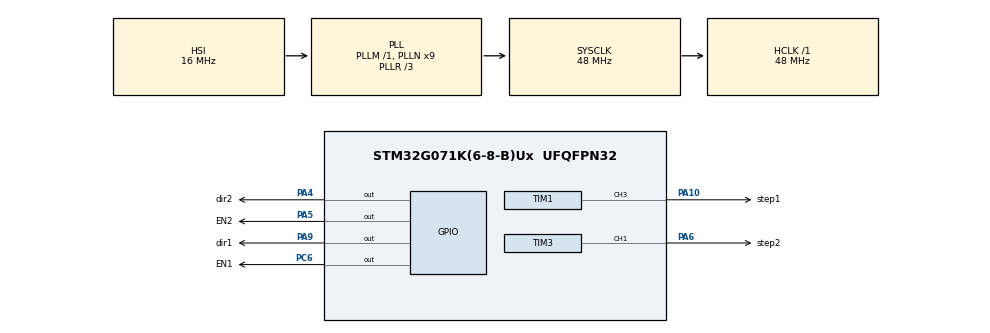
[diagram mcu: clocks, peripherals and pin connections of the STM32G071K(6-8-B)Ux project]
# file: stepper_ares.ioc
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Mcu.Family=STM32G0
Mcu.Name=STM32G071K(6-8-B)Ux
Mcu.Package=UFQFPN32
PA10.GPIO_Label=step1
PA10.Signal=S_TIM1_CH3
PA4.GPIO_Label=dir2
PA4.Signal=GPIO_Output
PA5.GPIO_Label=EN2
PA5.Signal=GPIO_Output
PA6.GPIO_Label=step2
PA6.Signal=S_TIM3_CH1
PA9.GPIO_Label=dir1
PA9.Signal=GPIO_Output
PC6.GPIO_Label=EN1
PC6.Signal=GPIO_Output
ProjectManager.HeapSize=0x200
ProjectManager.StackSize=0x400
ProjectManager.TargetToolchain=STM32CubeIDE
RCC.ADCFreq_Value=48000000
RCC.AHBFreq_Value=48000000
RCC.CortexFreq_Value=48000000
RCC.EXTERNAL_CLOCK_VALUE=48000
RCC.HCLKFreq_Value=48000000
RCC.HSE_VALUE=8000000
RCC.HSI_VALUE=16000000
RCC.LSE_VALUE=32768
RCC.PLLN=9
RCC.PLLQ=RCC_PLLQ_DIV6
RCC.PLLR=RCC_PLLR_DIV3
RCC.SYSCLKFreq_VALUE=48000000
RCC.SYSCLKSource=RCC_SYSCLKSOURCE_PLLCLK
RCC.VCOOutputFreq_Value=144000000
SH.S_TIM1_CH3.0=TIM1_CH3,PWM Generation3 CH3
SH.S_TIM3_CH1.0=TIM3_CH1,PWM Generation1 CH1
TIM1.Channel-PWM\ Generation3\ CH3=TIM_CHANNEL_3
TIM1.Period=8-1
TIM1.Prescaler=4-1
TIM3.AutoReloadPreload=TIM_AUTORELOAD_PRELOAD_ENABLE
TIM3.Channel-PWM\ Generation1\ CH1=TIM_CHANNEL_1
TIM3.Period=1000-1
TIM3.Prescaler=90-1
VP_TIM3_VS_ClockSourceINT.Mode=Internal
board=custom

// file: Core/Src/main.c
/* USER CODE BEGIN Header */
/**
  ******************************************************************************
  * @file           : main.c
  * @brief          : Main program body
  ******************************************************************************
  * @attention
  *
  * Copyright (c) 2025 STMicroelectronics.
  * All rights reserved.
  *
  * This software is licensed under terms that can be found in the LICENSE file
  * in the root directory of this software component.
  * If no LICENSE file comes with this software, it is provided AS-IS.
  *
  ******************************************************************************
  */
/* USER CODE END Header */
#include "main.h"

TIM_HandleTypeDef htim1;
TIM_HandleTypeDef htim3;

void SystemClock_Config(void);
static void MX_GPIO_Init(void);
static void MX_TIM1_Init(void);
static void MX_TIM3_Init(void);

int main(void)
{

  /* MCU Configuration--------------------------------------------------------*/

  /* Reset of all peripherals, Initializes the Flash interface and the Systick. */
  HAL_Init();

  /* Configure the system clock */
  SystemClock_Config();

  /* Initialize all configured peripherals */
  MX_GPIO_Init();
  MX_TIM1_Init();
  MX_TIM3_Init();

  /* Infinite loop */
  /* USER CODE BEGIN WHILE */
  HAL_GPIO_WritePin(GPIOA, GPIO_PIN_5, GPIO_PIN_RESET);//enable
  HAL_GPIO_WritePin(GPIOA, GPIO_PIN_4, GPIO_PIN_RESET);
  HAL_TIM_PWM_Start(&htim3, TIM_CHANNEL_1);
  __HAL_TIM_SET_COMPARE(&htim3, TIM_CHANNEL_1, 500);
  HAL_Delay(1000);
  HAL_GPIO_WritePin(GPIOA, GPIO_PIN_4, GPIO_PIN_SET);
  HAL_Delay(1000);

//  HAL_GPIO_WritePin(GPIOA, GPIO_PIN_9, GPIO_PIN_RESET);
  //  HAL_GPIO_WritePin(GPIOC, GPIO_PIN_6, GPIO_PIN_RESET);
  //  HAL_TIM_PWM_Start(&htim1, TIM_CHANNEL_3);
  //  __HAL_TIM_SET_COMPARE(&htim1, TIM_CHANNEL_3, 1);
  while (1)
  {
	  // Sens horaire
	  HAL_GPIO_WritePin(GPIOA, GPIO_PIN_4, GPIO_PIN_RESET);
	  HAL_TIM_PWM_Start(&htim3, TIM_CHANNEL_1);
	  __HAL_TIM_SET_COMPARE(&htim3, TIM_CHANNEL_1, 500); // Ajuster la vitesse, 500
	  HAL_Delay(20000); // Attendre 2 secondes, precaller 360

	  // Sens antihoraire
	  HAL_GPIO_WritePin(GPIOA, GPIO_PIN_4, GPIO_PIN_SET);
	  HAL_TIM_PWM_Start(&htim3, TIM_CHANNEL_1);
	  __HAL_TIM_SET_COMPARE(&htim3, TIM_CHANNEL_1, 500);
	  HAL_Delay(20000);
    /* USER CODE END WHILE */

  }
}

void SystemClock_Config(void)
{
  RCC_OscInitTypeDef RCC_OscInitStruct = {0};
  RCC_ClkInitTypeDef RCC_ClkInitStruct = {0};

  /** Configure the main internal regulator output voltage
  */
  HAL_PWREx_ControlVoltageScaling(PWR_REGULATOR_VOLTAGE_SCALE1);

  /** Initializes the RCC Oscillators according to the specified parameters
  * in the RCC_OscInitTypeDef structure.
  */
  RCC_OscInitStruct.OscillatorType = RCC_OSCILLATORTYPE_HSI;
  RCC_OscInitStruct.HSIState = RCC_HSI_ON;
  RCC_OscInitStruct.HSIDiv = RCC_HSI_DIV1;
  RCC_OscInitStruct.HSICalibrationValue = RCC_HSICALIBRATION_DEFAULT;
  RCC_OscInitStruct.PLL.PLLState = RCC_PLL_ON;
  RCC_OscInitStruct.PLL.PLLSource = RCC_PLLSOURCE_HSI;
  RCC_OscInitStruct.PLL.PLLM = RCC_PLLM_DIV1;
  RCC_OscInitStruct.PLL.PLLN = 9;
  RCC_OscInitStruct.PLL.PLLP = RCC_PLLP_DIV2;
  RCC_OscInitStruct.PLL.PLLQ = RCC_PLLQ_DIV6;
  RCC_OscInitStruct.PLL.PLLR = RCC_PLLR_DIV3;
  if (HAL_RCC_OscConfig(&RCC_OscInitStruct) != HAL_OK)
  {
    Error_Handler();
  }

  /** Initializes the CPU, AHB and APB buses clocks
  */
  RCC_ClkInitStruct.ClockType = RCC_CLOCKTYPE_HCLK|RCC_CLOCKTYPE_SYSCLK
                              |RCC_CLOCKTYPE_PCLK1;
  RCC_ClkInitStruct.SYSCLKSource = RCC_SYSCLKSOURCE_PLLCLK;
  RCC_ClkInitStruct.AHBCLKDivider = RCC_SYSCLK_DIV1;
  RCC_ClkInitStruct.APB1CLKDivider = RCC_HCLK_DIV1;

  if (HAL_RCC_ClockConfig(&RCC_ClkInitStruct, FLASH_LATENCY_1) != HAL_OK)
  {
    Error_Handler();
  }
}

static void MX_TIM1_Init(void)
{

  TIM_MasterConfigTypeDef sMasterConfig = {0};
  TIM_OC_InitTypeDef sConfigOC = {0};
  TIM_BreakDeadTimeConfigTypeDef sBreakDeadTimeConfig = {0};

  htim1.Instance = TIM1;
  htim1.Init.Prescaler = 4-1;
  htim1.Init.CounterMode = TIM_COUNTERMODE_UP;
  htim1.Init.Period = 8-1;
  htim1.Init.ClockDivision = TIM_CLOCKDIVISION_DIV1;
  htim1.Init.RepetitionCounter = 0;
  htim1.Init.AutoReloadPreload = TIM_AUTORELOAD_PRELOAD_DISABLE;
  if (HAL_TIM_PWM_Init(&htim1) != HAL_OK)
  {
    Error_Handler();
  }
  sMasterConfig.MasterOutputTrigger = TIM_TRGO_RESET;
  sMasterConfig.MasterOutputTrigger2 = TIM_TRGO2_RESET;
  sMasterConfig.MasterSlaveMode = TIM_MASTERSLAVEMODE_DISABLE;
  if (HAL_TIMEx_MasterConfigSynchronization(&htim1, &sMasterConfig) != HAL_OK)
  {
    Error_Handler();
  }
  sConfigOC.OCMode = TIM_OCMODE_PWM1;
  sConfigOC.Pulse = 0;
  sConfigOC.OCPolarity = TIM_OCPOLARITY_HIGH;
  sConfigOC.OCNPolarity = TIM_OCNPOLARITY_HIGH;
  sConfigOC.OCFastMode = TIM_OCFAST_DISABLE;
  sConfigOC.OCIdleState = TIM_OCIDLESTATE_RESET;
  sConfigOC.OCNIdleState = TIM_OCNIDLESTATE_RESET;
  if (HAL_TIM_PWM_ConfigChannel(&htim1, &sConfigOC, TIM_CHANNEL_3) != HAL_OK)
  {
    Error_Handler();
  }
  sBreakDeadTimeConfig.OffStateRunMode = TIM_OSSR_DISABLE;
  sBreakDeadTimeConfig.OffStateIDLEMode = TIM_OSSI_DISABLE;
  sBreakDeadTimeConfig.LockLevel = TIM_LOCKLEVEL_OFF;
  sBreakDeadTimeConfig.DeadTime = 0;
  sBreakDeadTimeConfig.BreakState = TIM_BREAK_DISABLE;
  sBreakDeadTimeConfig.BreakPolarity = TIM_BREAKPOLARITY_HIGH;
  sBreakDeadTimeConfig.BreakFilter = 0;
  sBreakDeadTimeConfig.BreakAFMode = TIM_BREAK_AFMODE_INPUT;
  sBreakDeadTimeConfig.Break2State = TIM_BREAK2_DISABLE;
  sBreakDeadTimeConfig.Break2Polarity = TIM_BREAK2POLARITY_HIGH;
  sBreakDeadTimeConfig.Break2Filter = 0;
  sBreakDeadTimeConfig.Break2AFMode = TIM_BREAK_AFMODE_INPUT;
  sBreakDeadTimeConfig.AutomaticOutput = TIM_AUTOMATICOUTPUT_DISABLE;
  if (HAL_TIMEx_ConfigBreakDeadTime(&htim1, &sBreakDeadTimeConfig) != HAL_OK)
  {
    Error_Handler();
  }
  HAL_TIM_MspPostInit(&htim1);

}

static void MX_TIM3_Init(void)
{

  TIM_ClockConfigTypeDef sClockSourceConfig = {0};
  TIM_MasterConfigTypeDef sMasterConfig = {0};
  TIM_OC_InitTypeDef sConfigOC = {0};

  htim3.Instance = TIM3;
  htim3.Init.Prescaler = 90-1;
  htim3.Init.CounterMode = TIM_COUNTERMODE_UP;
  htim3.Init.Period = 1000-1;
  htim3.Init.ClockDivision = TIM_CLOCKDIVISION_DIV1;
  htim3.Init.AutoReloadPreload = TIM_AUTORELOAD_PRELOAD_ENABLE;
  if (HAL_TIM_Base_Init(&htim3) != HAL_OK)
  {
    Error_Handler();
  }
  sClockSourceConfig.ClockSource = TIM_CLOCKSOURCE_INTERNAL;
  if (HAL_TIM_ConfigClockSource(&htim3, &sClockSourceConfig) != HAL_OK)
  {
    Error_Handler();
  }
  if (HAL_TIM_PWM_Init(&htim3) != HAL_OK)
  {
    Error_Handler();
  }
  sMasterConfig.MasterOutputTrigger = TIM_TRGO_RESET;
  sMasterConfig.MasterSlaveMode = TIM_MASTERSLAVEMODE_DISABLE;
  if (HAL_TIMEx_MasterConfigSynchronization(&htim3, &sMasterConfig) != HAL_OK)
  {
    Error_Handler();
  }
  sConfigOC.OCMode = TIM_OCMODE_PWM1;
  sConfigOC.Pulse = 0;
  sConfigOC.OCPolarity = TIM_OCPOLARITY_HIGH;
  sConfigOC.OCFastMode = TIM_OCFAST_DISABLE;
  if (HAL_TIM_PWM_ConfigChannel(&htim3, &sConfigOC, TIM_CHANNEL_1) != HAL_OK)
  {
    Error_Handler();
  }
  HAL_TIM_MspPostInit(&htim3);

}

static void MX_GPIO_Init(void)
{
  GPIO_InitTypeDef GPIO_InitStruct = {0};

  /* GPIO Ports Clock Enable */
  __HAL_RCC_GPIOA_CLK_ENABLE();
  __HAL_RCC_GPIOC_CLK_ENABLE();

  /*Configure GPIO pin Output Level */
  HAL_GPIO_WritePin(GPIOA, dir2_Pin|EN2_Pin|dir1_Pin, GPIO_PIN_RESET);

  /*Configure GPIO pin Output Level */
  HAL_GPIO_WritePin(EN1_GPIO_Port, EN1_Pin, GPIO_PIN_RESET);

  /*Configure GPIO pins : dir2_Pin EN2_Pin dir1_Pin */
  GPIO_InitStruct.Pin = dir2_Pin|EN2_Pin|dir1_Pin;
  GPIO_InitStruct.Mode = GPIO_MODE_OUTPUT_PP;
  GPIO_InitStruct.Pull = GPIO_NOPULL;
  GPIO_InitStruct.Speed = GPIO_SPEED_FREQ_LOW;
  HAL_GPIO_Init(GPIOA, &GPIO_InitStruct);

  /*Configure GPIO pin : EN1_Pin */
  GPIO_InitStruct.Pin = EN1_Pin;
  GPIO_InitStruct.Mode = GPIO_MODE_OUTPUT_PP;
  GPIO_InitStruct.Pull = GPIO_NOPULL;
  GPIO_InitStruct.Speed = GPIO_SPEED_FREQ_LOW;
  HAL_GPIO_Init(EN1_GPIO_Port, &GPIO_InitStruct);

}

void Error_Handler(void)
{
  __disable_irq();
  while (1)
  {
  }
}
